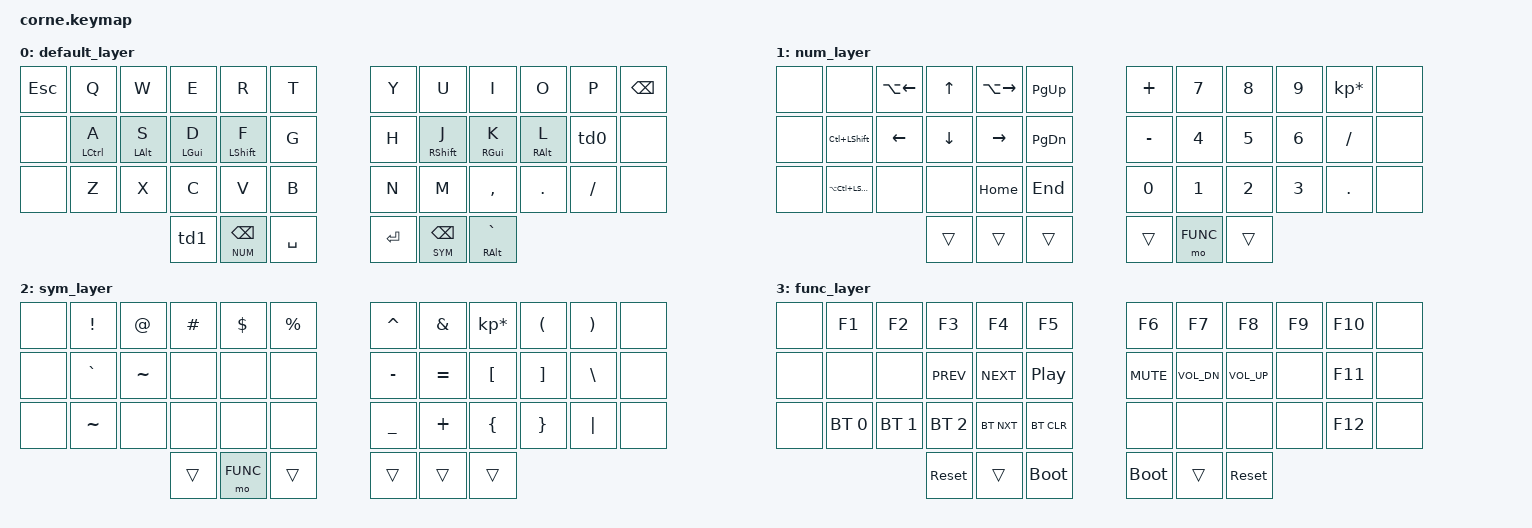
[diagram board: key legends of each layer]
/*
 * Copyright (c) 2020 The ZMK Contributors
 *
 * SPDX-License-Identifier: MIT
 */

#include <behaviors.dtsi>
#include <dt-bindings/zmk/bt.h>
#include <dt-bindings/zmk/keys.h>

// LAYERS

#define DEFAULT 0
#define NUM     1
#define SYM     2
#define FUNC    3

// MACROS

#define SUPER LC(LSHIFT)
#define SUPER2 LA(LC(LSHIFT))

&mt {
    tapping-term-ms = <200>;
    flavor = "tap-preferred";
};

/ {
    behaviors {
        hm: homerow_mods {
            compatible = "zmk,behavior-hold-tap";
            label = "HOMEROW_MODS";
            #binding-cells = <2>;
            tapping-term-ms = <200>;
            quick-tap-ms = <0>;
            flavor = "tap-preferred";
            bindings = <&kp>, <&kp>;
        };

        td0: tap_dance_0 {
            compatible = "zmk,behavior-tap-dance";
            label = "TAP_DANCE_0";
            #binding-cells = <0>;
            tapping-term-ms = <200>;
            bindings = <&hm RGUI SEMI>, <&kp SQT>;
        };

        td1: tap_dance_1 {
            compatible = "zmk,behavior-tap-dance";
            label = "TAP_DANCE_1";
            #binding-cells = <0>;
            tapping-term-ms = <200>;
            bindings = <&mt LCTRL TAB>, <&kp ESC>;
        };
    };

    combos {
        compatible = "zmk,combos";

        combo_cword {
            timeout-ms = <50>;
            key-positions = <16 19>;
            bindings = <&caps_word>;
        };

        combo_vimwq {
            timeout-ms = <50>;
            key-positions = <1 2>;
            bindings = <&vim_quit>;
        };
    };

    macros {
        vim_quit: vim_quit {
            label = "ZM_vim_quit";
            compatible = "zmk,behavior-macro";
            #binding-cells = <0>;
            bindings = <&macro_tap>, <&kp ESC &kp COLON &kp W &kp Q>;
        };

        divvy_full: divvy_full {
            compatible = "zmk,behavior-macro";
            #binding-cells = <0>;
            bindings =
                <&kp LA(LS(SPACE))>,
                <&macro_press>,
                <&kp NUMBER_3>,
                <&macro_press>;

            label = "DIVVY_FULL";
        };
    };

    keymap {
        compatible = "zmk,keymap";

        default_layer {
            bindings = <
&kp ESC  &kp Q               &kp W       &kp E           &kp R         &kp T        &kp Y    &kp U              &kp I            &kp O       &kp P     &kp BACKSPACE
&none    &hm LEFT_CONTROL A  &hm LALT S  &hm LEFT_GUI D  &hm LSHIFT F  &kp G        &kp H    &hm RSHIFT J       &hm RIGHT_GUI K  &hm RALT L  &td0      &none
&none    &kp Z               &kp X       &kp C           &kp V         &kp B        &kp N    &kp M              &kp COMMA        &kp DOT     &kp FSLH  &none
                                         &td1            &lt NUM BSPC  &kp SPACE    &kp RET  &lt SYM BACKSPACE  &mt RALT GRAVE
            >;
        };

        num_layer {
            bindings = <
&none  &none       &kp LA(LEFT)  &kp UP    &kp LA(RIGHT)  &kp PG_UP    &kp PLUS   &kp N7    &kp N8  &kp N9  &kp KP_MULTIPLY  &none
&none  &kp SUPER   &kp LEFT      &kp DOWN  &kp RIGHT      &kp PG_DN    &kp MINUS  &kp N4    &kp N5  &kp N6  &kp SLASH        &none
&none  &kp SUPER2  &none         &none     &kp HOME       &kp END      &kp N0     &kp N1    &kp N2  &kp N3  &kp DOT          &none
                                 &trans    &trans         &trans       &trans     &mo FUNC  &trans
            >;
        };

        sym_layer {
            bindings = <
&none  &kp EXCL   &kp AT     &kp HASH  &kp DLLR  &kp PRCNT    &kp CARET  &kp AMPS   &kp KP_MULTIPLY  &kp LPAR  &kp RPAR  &none
&none  &kp GRAVE  &kp TILDE  &none     &none     &none        &kp MINUS  &kp EQUAL  &kp LBKT         &kp RBKT  &kp BSLH  &none
&none  &kp TILDE  &none      &none     &none     &none        &kp UNDER  &kp PLUS   &kp LBRC         &kp RBRC  &kp PIPE  &none
                             &trans    &mo FUNC  &trans       &trans     &trans     &trans
            >;
        };

        func_layer {
            bindings = <
&none  &kp F1        &kp F2        &kp F3        &kp F4      &kp F5              &kp F6       &kp F7        &kp F8        &kp F9  &kp F10  &none
&none  &none         &none         &kp C_PREV    &kp C_NEXT  &kp C_PLAY_PAUSE    &kp C_MUTE   &kp C_VOL_DN  &kp C_VOL_UP  &none   &kp F11  &none
&none  &bt BT_SEL 0  &bt BT_SEL 1  &bt BT_SEL 2  &bt BT_NXT  &bt BT_CLR          &none        &none         &none         &none   &kp F12  &none
                                   &sys_reset    &trans      &bootloader         &bootloader  &trans        &sys_reset
            >;
        };
    };
};
